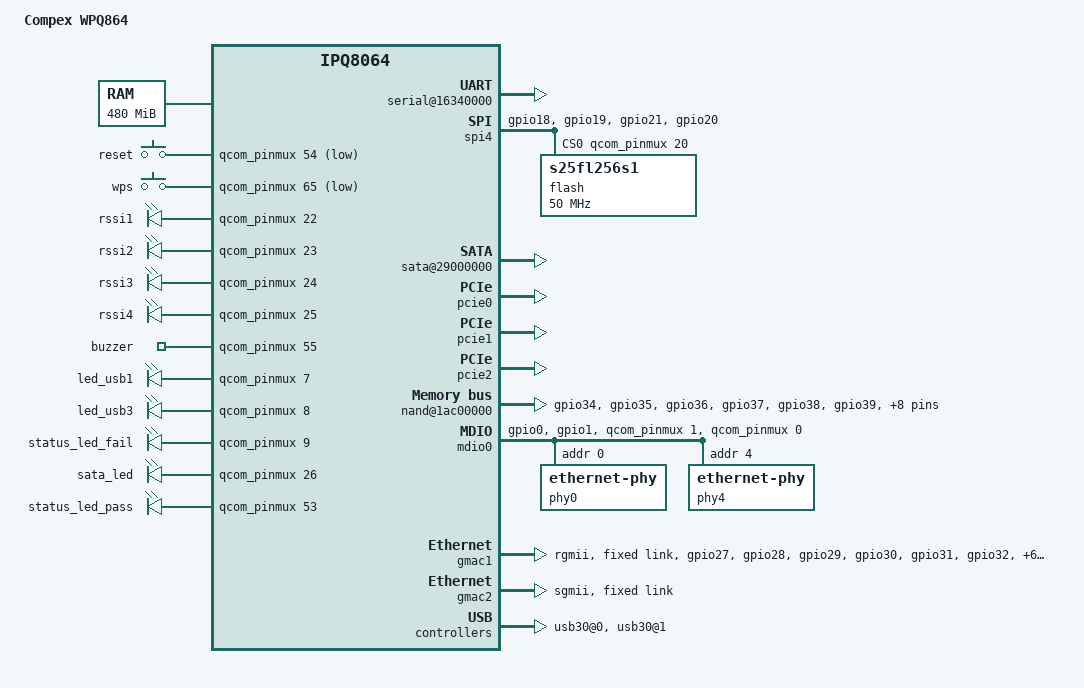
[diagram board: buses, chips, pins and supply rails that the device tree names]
#include "qcom-ipq8064-v1.0.dtsi"
#include <dt-bindings/input/input.h>

/ {
	model = "Compex WPQ864";
	compatible = "compex,wpq864", "qcom,ipq8064";
	aliases {
		serial0 = &uart4;
		mdio-gpio0 = &mdio0;
	};
	
	chosen {
		linux,stdout-path = "serial0:11520n8";
	};
	
	memory@0 {
		reg = <0x42000000 0x1e000000>;
		device_type = "memory";
	};
	reserved-memory {
		#address-cells = <1>;
		#size-cells = <1>;
		ranges;
		rsvd@41200000{
			reg = <0x41200000 0x300000>;
			no-map;
		};
	};

	soc {
		pinmux@800000{
			spi_pins: spi_pins {
				mux {
					pins = "gpio18", "gpio19";
					function = "gsbi5";
					drive-strength = <10>;
					bias-pull-down;
				};
				clk {
					pins = "gpio21";
					function = "gsbi5";
					drive-strength = <12>;
					bias-pull-down;
				};
				cs {
					pins = "gpio20";
					function = "gpio";
					drive-strength = <10>;
					bias-pull-up;
				};
			};
			nand_pins: nand_pins {
				mux {
					pins = "gpio34", "gpio35", "gpio36",
					       "gpio37", "gpio38", "gpio39",
					       "gpio40", "gpio41", "gpio42",
					       "gpio43", "gpio44", "gpio45",
					       "gpio46", "gpio47";
					function = "nand";
					drive-strength = <10>;
					bias-disable;
				};
				pullups {
					pins = "gpio39";
					bias-pull-up;
				};
				hold {
					pins = "gpio40", "gpio41", "gpio42",
					       "gpio43", "gpio44", "gpio45",
					       "gpio46", "gpio47";
					bias-bus-hold;
				};
			};

			mdio0_pins: mdio0_pins {
				mux {
					pins = "gpio0", "gpio1";
					function = "gpio";
					drive-strength = <8>;
					bias-disable;
				};
			};

			rgmii2_pins: rgmii2_pins {
				mux {
					pins = "gpio27", "gpio28", "gpio29",
						"gpio30", "gpio31", "gpio32",
						"gpio51", "gpio52", "gpio59",
						"gpio60", "gpio61", "gpio62";
					function = "rgmii2";
					drive-strength = <8>;
					bias-disable;
				};
			};

			pcie2_pins: pcie2_pinmux {
				mux {
					pins = "gpio16";
					function = "pcie3_rst";
					drive-strength = <12>;
					bias-disable;
				};
			};

			leds_pins: leds_pins {
				mux {
					pins = "gpio7", "gpio8", "gpio9",
					       "gpio26", "gpio53",
					       "gpio22", "gpio23", "gpio24",
					       "gpio25", "gpio55";
					function = "gpio";
					drive-strength = <2>;
					bias-pull-down;
					output-low;
				};
			};

			buttons_pins: buttons_pins {
				mux {
					pins = "gpio54", "gpio65";
					drive-strength = <2>;
					bias-pull-up;
				};
			};
		};
		gsbi@16300000 {
			qcom,mode = <GSBI_PROT_I2C_UART>;
			status = "ok";
			serial@16340000 {
				status = "ok";
			};
			/*
			 * The i2c device on gsbi4 should not be enabled.
			 * On ipq806x designs gsbi4 i2c is meant for exclusive
			 * RPM usage. Turning this on in kernel manifests as
			 * i2c failure for the RPM.
			 */
		};
		gsbi5: gsbi@1a200000 {
			qcom,mode = <GSBI_PROT_SPI>;
			status = "ok";

			spi4: spi@1a280000 {
				status = "ok";
				spi-max-frequency = <50000000>;

				pinctrl-0 = <&spi_pins>;
				pinctrl-names = "default";

				cs-gpios = <&qcom_pinmux 20 0>;
				dmas = <&adm_dma 6>, <&adm_dma 5>;
				dma-names = "rx", "tx";
				qcom,rx-crci = <9>;
				qcom,tx-crci = <10>;

				flash: m25p80@0 {
					compatible = "s25fl256s1";
					#address-cells = <1>;
					#size-cells = <1>;
					spi-max-frequency = <50000000>;
					reg = <0>;
                                        linux,part-probe = "qcom-smem";
				};
			};
		};
		sata-phy@1b400000 {
			status = "ok";
		};

		sata@29000000 {
			status = "ok";
		};

		pcie0: pci@1b500000 {
			status = "ok";
		};

		pcie1: pci@1b700000 {
			status = "ok";
			force_gen1 = <1>;
		};

		pcie2: pci@1b900000 {
			perst-gpio = <&qcom_pinmux 16 GPIO_ACTIVE_LOW>;
 			phy-tx0-term-offset = <7>;
			status = "ok";
		};
		


		nand@1ac00000 {
			status = "ok";

			pinctrl-0 = <&nand_pins>;
			pinctrl-names = "default";

			nand-ecc-strength = <4>;
			nand-bus-width = <8>;
			linux,part-probe = "qcom-smem";
		};

		mdio0: mdio {
			compatible = "virtual,mdio-gpio";
			#address-cells = <1>;
			#size-cells = <0>;
			gpios = <&qcom_pinmux 1 0 &qcom_pinmux 0 0>;
			pinctrl-0 = <&mdio0_pins>;
			pinctrl-names = "default";

			phy0: ethernet-phy@0 {
				device_type = "ethernet-phy";
				reg = <0>;
				qca,ar8327-initvals = <
					0x00004 0x7600000   /* PAD0_MODE */
					0x00008 0x1000000   /* PAD5_MODE */
					0x0000c 0x80        /* PAD6_MODE */
					0x000e4 0xaa545     /* MAC_POWER_SEL */
					0x000e0 0xc74164de  /* SGMII_CTRL */
					0x0007c 0x4e        /* PORT0_STATUS */
					0x00094 0x4e        /* PORT6_STATUS */
					>;
				link-polling-required = <0>;
				link-intr-gpio = <2>;
			};

			phy4: ethernet-phy@4 {
				device_type = "ethernet-phy";
				reg = <4>;
			};
		};

		gmac1: ethernet@37200000 {
			status = "ok";
			phy-mode = "rgmii";
			qcom,id = <1>;

			pinctrl-0 = <&rgmii2_pins>;
			pinctrl-names = "default";

			fixed-link {
				speed = <1000>;
				full-duplex;
			};
		};

		gmac2: ethernet@37400000 {
			status = "ok";
			phy-mode = "sgmii";
			qcom,id = <2>;

			fixed-link {
				speed = <1000>;
				full-duplex;
			};
		};

		phy@100f8800 {
			status = "ok";
		};

		phy@100f8830 {
			status = "ok";
		};

		usb30@0 {
			status = "ok";
		};

		phy@110f8800 {
			status = "ok";
		};

		phy@110f8830 {
			status = "ok";
		};

		usb30@1 {
			status = "ok";
		};

		gpio_keys {
			compatible = "gpio-keys";
			pinctrl-0 = <&buttons_pins>;
			pinctrl-names = "default";

			button@1 {
				label = "reset";
				linux,code = <KEY_RESTART>;
				gpios = <&qcom_pinmux 54 GPIO_ACTIVE_LOW>;
				linux,input-type = <1>;
				debounce-interval = <60>;
			};
			button@2 {
				label = "wps";
				linux,code = <KEY_WPS_BUTTON>;
				gpios = <&qcom_pinmux 65 GPIO_ACTIVE_LOW>;
				linux,input-type = <1>;
				debounce-interval = <60>;
			};
		};

		leds {
			compatible = "gpio-leds";
			pinctrl-0 = <&leds_pins>;
			pinctrl-names = "default";

			rssi1 {
				label = "rssi1";
				gpios = <&qcom_pinmux 22 GPIO_ACTIVE_HIGH>;
				default-state = "off";
			};
			rssi2 {
				label = "rssi2";
				gpios = <&qcom_pinmux 23 GPIO_ACTIVE_HIGH>;
				default-state = "off";
			};
			rssi3 {
				label = "rssi3";
				gpios = <&qcom_pinmux 24 GPIO_ACTIVE_HIGH>;
				default-state = "off";
			};
			rssi4 {
				label = "rssi4";
				gpios = <&qcom_pinmux 25 GPIO_ACTIVE_HIGH>;
				default-state = "off";
			};
			buzzer {
				label = "buzzer";
				gpios = <&qcom_pinmux 55 GPIO_ACTIVE_HIGH>;
				default-state = "off";
			};

			led@7 {
				label = "led_usb1";
				gpios = <&qcom_pinmux 7 GPIO_ACTIVE_HIGH>;
				linux,default-trigger = "usbdev";
				default-state = "off";
			};

			led@8 {
				label = "led_usb3";
				gpios = <&qcom_pinmux 8 GPIO_ACTIVE_HIGH>;
				linux,default-trigger = "usbdev";
				default-state = "off";
			};

			led@9 {
				label = "status_led_fail";
				gpios = <&qcom_pinmux 9 GPIO_ACTIVE_HIGH>;
				default-state = "off";
			};

			led@26 {
				label = "sata_led";
				gpios = <&qcom_pinmux 26 GPIO_ACTIVE_HIGH>;
				default-state = "off";
			};

			led@53 {
				label = "status_led_pass";
				gpios = <&qcom_pinmux 53 GPIO_ACTIVE_HIGH>;
				default-state = "off";
			};
		};
	};
};

&adm_dma {
	status = "ok";
};
